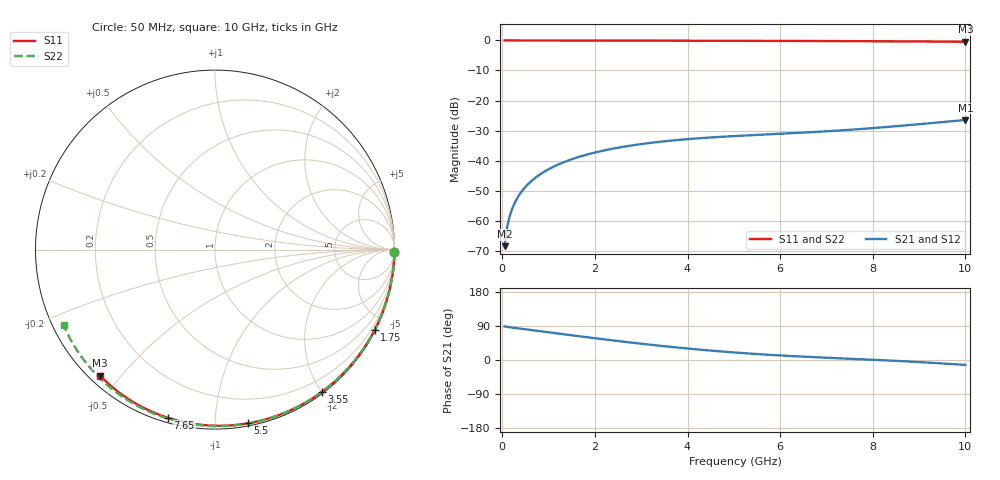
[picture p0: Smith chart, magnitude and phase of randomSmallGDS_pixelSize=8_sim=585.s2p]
! freq	dB(S11)	phase(S11)	dB(S12)	phase(S12)
!  dB(S21)	phase(S21)	dB(S22)	phase(S22)
!S-par simulation data
#  GHz  S  DB  R 50
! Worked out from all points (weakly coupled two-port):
!   200 points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, 50 MHz to 10 GHz, reference 50 ohm
!   highest |S21| = -26.48 dB at 10 GHz (marker M1); lowest = -68.5 dB at 50 MHz (marker M2)
!   lowest |S11| = -0.4 dB at 10 GHz (marker M3), VSWR 39.34, Z = 1.52 - j22.1 ohm
!   |S11| at or under -10 dB: nowhere
!   |S22| runs from -0.5 to 0.0 dB; largest |S21 - S12| = 0
!   S11 on the Smith chart (normalised r, x): 50 MHz: open; 1.75 GHz: 0.04, -4.20; 3.55 GHz: 0.02, -2.01; 5.5 GHz: 0.02, -1.21; 7.65 GHz: 0.02, -0.76; 10 GHz: 0.03, -0.44
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0.05  -0.00 -0.8  -68.50 88.7  -68.50 88.7  -0.00 -0.9
0.1  -0.00 -1.6  -62.53 87.5  -62.53 87.5  -0.00 -1.8
0.15  -0.00 -2.3  -59.06 86.6  -59.06 86.6  -0.00 -2.7
0.2  -0.00 -3.1  -56.60 85.8  -56.60 85.8  -0.00 -3.6
0.25  -0.00 -3.9  -54.69 85.0  -54.69 85.0  -0.00 -4.5
0.35  -0.00 -5.4  -51.82 83.4  -51.82 83.4  -0.00 -6.3
0.5  -0.01 -7.8  -48.76 81.1  -48.76 81.1  -0.01 -9.0
0.7  -0.01 -10.8  -45.89 77.9  -45.89 77.9  -0.01 -12.6
1  -0.02 -15.4  -42.88 73.2  -42.88 73.2  -0.02 -17.9
1.35  -0.03 -20.7  -40.40 67.6  -40.40 67.6  -0.03 -24.0
1.75  -0.03 -26.8  -38.34 61.3  -38.34 61.3  -0.04 -31.0
2.5  -0.05 -37.9  -35.70 50.0  -35.70 50.0  -0.06 -43.8
3.4  -0.07 -50.9  -33.74 37.6  -33.74 37.6  -0.08 -58.7
3.55  -0.07 -53.0  -33.50 35.7  -33.50 35.7  -0.08 -61.2
4.3  -0.09 -63.4  -32.51 26.9  -32.51 26.9  -0.10 -73.0
5.05  -0.11 -73.4  -31.80 19.5  -31.80 19.5  -0.13 -84.5
5.5  -0.13 -79.2  -31.45 15.7  -31.45 15.7  -0.15 -91.1
6.7  -0.18 -94.3  -30.52 7.7  -30.52 7.7  -0.21 -108.3
7.65  -0.24 -105.6  -29.59 2.6  -29.59 2.6  -0.27 -121.5
8.35  -0.29 -113.7  -28.76 -1.3  -28.76 -1.3  -0.33 -131.0
9.2  -0.36 -123.4  -27.61 -6.9  -27.61 -6.9  -0.42 -142.5
10  -0.44 -132.3  -26.48 -13.0  -26.48 -13.0  -0.51 -153.4
